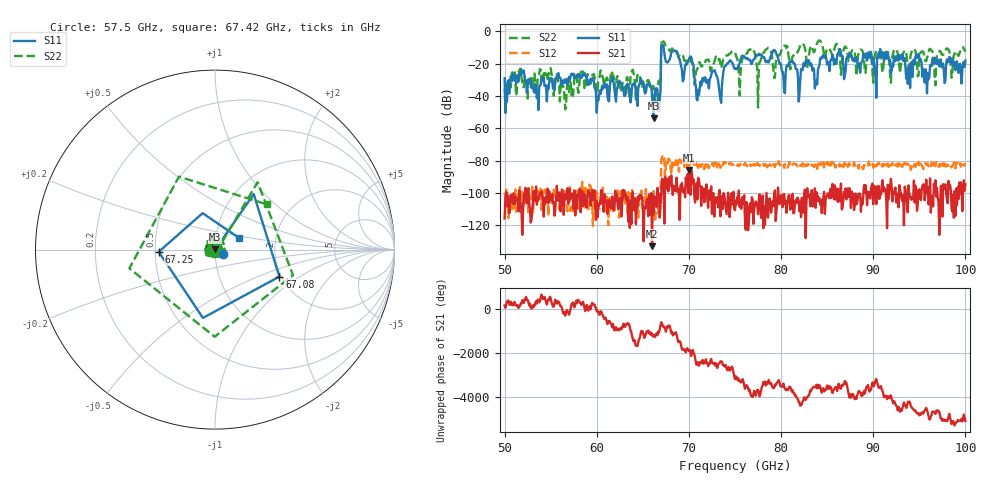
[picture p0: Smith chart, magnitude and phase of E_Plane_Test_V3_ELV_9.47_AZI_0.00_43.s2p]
! 11/26/2026 4:28:13 PM
! C:\ANRITSUVNA\TEMP\TEMP.S2P
! CHANNEL.1
! TR.MEASUREMENT
! RAW.DATA
# HZ S RI R 50.0
! FREQ.HZ  S11RE  S11IM  S21RE  S21IM  S12RE  S12IM  S22RE  S22IM
!; PortSelection: Port_12
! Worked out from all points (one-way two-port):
!   601 points, 50 GHz to 100 GHz, reference 50 ohm
!   highest |S21| = -85.73 dB at 70 GHz (marker M1); lowest = -133.0 dB at 66 GHz (marker M2)
!   lowest |S11| = -53.9 dB at 66.17 GHz (marker M3), VSWR 1.00, Z = 50.1 + j0.149 ohm
!   |S11| at or under -10 dB: start of sweep to 67 GHz; 67.25 GHz to end of sweep
!   |S22| runs from -48.2 to -5.6 dB; largest |S21 - S12| = 0.00016
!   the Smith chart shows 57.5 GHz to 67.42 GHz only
!   S11 on the Smith chart (normalised r, x): 57.5 GHz: 1.09, -0.05; 67.08 GHz: 1.96, -0.69; 67.25 GHz: 0.52, -0.01; 67.42 GHz: 1.29, +0.17
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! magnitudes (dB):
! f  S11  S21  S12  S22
! 50 GHz  -29.0  -115.9  -100.3  -35.5
! 57.5 GHz  -26.1  -110.1  -102.5  -34.6
! 58.42 GHz  -27.1  -98.7  -93.2  -24.8
! 60.17 GHz  -42.8  -107.1  -104.0  -30.3
! 66 GHz  -39.7  -133.0  -112.7  -35.7
! 66.17 GHz  -53.9  -113.3  -99.0  -34.0
! 66.67 GHz  -41.5  -105.7  -112.0  -31.6
! 67.08 GHz  -8.2  -91.2  -77.9  -6.8
! 67.25 GHz  -10.1  -91.9  -78.7  -6.2
! 67.42 GHz  -16.6  -90.4  -93.8  -8.3
! 70 GHz  -17.3  -85.7  -90.0  -16.5
! 70.92 GHz  -42.7  -104.0  -82.9  -23.2
! 75 GHz  -23.3  -110.8  -83.0  -13.0
! 77.58 GHz  -13.8  -104.0  -82.8  -21.7
! 78.5 GHz  -18.2  -108.1  -84.1  -10.8
! 79.33 GHz  -11.8  -98.5  -83.9  -28.7
! 80.25 GHz  -27.8  -100.9  -82.4  -9.4
! 83.42 GHz  -24.3  -108.4  -83.1  -10.8
! 91.67 GHz  -16.6  -103.8  -83.9  -15.2
! 94.83 GHz  -15.1  -106.3  -82.2  -27.9
! 95.83 GHz  -38.3  -99.7  -82.8  -16.5
! 100 GHz  -18.0  -94.8  -82.4  -12.5
